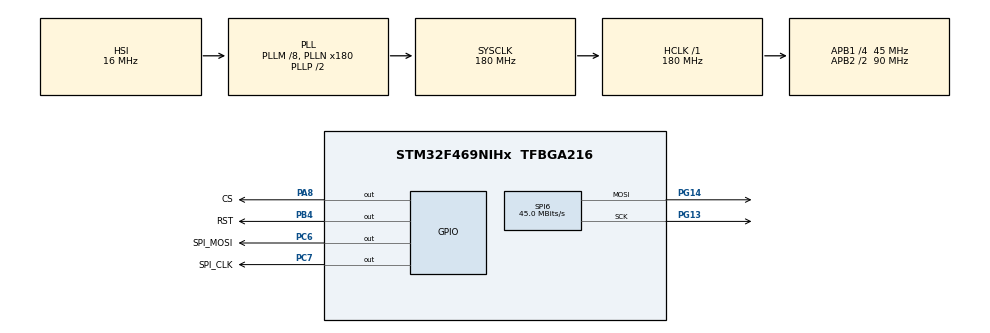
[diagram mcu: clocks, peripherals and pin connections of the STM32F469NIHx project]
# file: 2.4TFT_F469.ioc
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Mcu.Family=STM32F4
Mcu.Name=STM32F469NIHx
Mcu.Package=TFBGA216
NVIC.PriorityGroup=NVIC_PRIORITYGROUP_4
NVIC.TIM2_IRQn=true\:0\:0\:false\:false\:true\:true\:true\:true
PA13.Mode=Serial_Wire
PA13.Signal=SYS_JTMS-SWDIO
PA14.Mode=Serial_Wire
PA14.Signal=SYS_JTCK-SWCLK
PA8.GPIO_Label=CS
PA8.GPIO_Speed=GPIO_SPEED_FREQ_VERY_HIGH
PA8.PinState=GPIO_PIN_RESET
PA8.Signal=GPIO_Output
PB4.GPIO_Label=RST
PB4.Signal=GPIO_Output
PC14/OSC32_IN.Mode=LSE-External-Oscillator
PC14/OSC32_IN.Signal=RCC_OSC32_IN
PC15/OSC32_OUT.Mode=LSE-External-Oscillator
PC15/OSC32_OUT.Signal=RCC_OSC32_OUT
PC6.GPIO_Label=SPI_MOSI
PC6.GPIO_Speed=GPIO_SPEED_FREQ_VERY_HIGH
PC6.PinState=GPIO_PIN_SET
PC6.Signal=GPIO_Output
PC7.GPIO_Label=SPI_CLK
PC7.GPIO_Speed=GPIO_SPEED_FREQ_VERY_HIGH
PC7.PinState=GPIO_PIN_SET
PC7.Signal=GPIO_Output
PG13.Mode=TX_Only_Simplex_Unidirect_Master
PG13.Signal=SPI6_SCK
PG14.Mode=TX_Only_Simplex_Unidirect_Master
PG14.Signal=SPI6_MOSI
PH0/OSC_IN.Mode=HSE-External-Oscillator
PH0/OSC_IN.Signal=RCC_OSC_IN
PH1/OSC_OUT.Mode=HSE-External-Oscillator
PH1/OSC_OUT.Signal=RCC_OSC_OUT
ProjectManager.HeapSize=0x200
ProjectManager.StackSize=0x400
ProjectManager.TargetToolchain=MDK-ARM V5.32
RCC.AHBFreq_Value=180000000
RCC.APB1CLKDivider=RCC_HCLK_DIV4
RCC.APB1Freq_Value=45000000
RCC.APB1TimFreq_Value=90000000
RCC.APB2CLKDivider=RCC_HCLK_DIV2
RCC.APB2Freq_Value=90000000
RCC.APB2TimFreq_Value=180000000
RCC.CortexFreq_Value=180000000
RCC.HCLKFreq_Value=180000000
RCC.HSE_VALUE=8000000
RCC.PLLM=8
RCC.PLLN=180
RCC.SYSCLKFreq_VALUE=180000000
RCC.SYSCLKSource=RCC_SYSCLKSOURCE_PLLCLK
RCC.USBFreq_Value=90000000
RCC.VCOOutputFreq_Value=360000000
SPI6.CalculateBaudRate=45.0 MBits/s
SPI6.Direction=SPI_DIRECTION_2LINES
SPI6.Mode=SPI_MODE_MASTER
SPI6.VirtualType=VM_MASTER
TIM2.Period=1000
TIM2.Prescaler=100
VP_TIM2_VS_ClockSourceINT.Mode=Internal
board=custom

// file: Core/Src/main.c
/* USER CODE BEGIN Header */
/**
  ******************************************************************************
  * @file           : main.c
  * @brief          : Main program body
  ******************************************************************************
  * @attention
  *
  * Copyright (c) 2022 STMicroelectronics.
  * All rights reserved.
  *
  * This software is licensed under terms that can be found in the LICENSE file
  * in the root directory of this software component.
  * If no LICENSE file comes with this software, it is provided AS-IS.
  *
  ******************************************************************************
  */
/* USER CODE END Header */
#include "main.h"
#include "spi.h"
#include "tim.h"
#include "gpio.h"

/* USER CODE BEGIN Includes */
#include "lvgl.h"
#include "lv_port_disp_template.h"
#include "lv_port_indev_template.h"

#if LV_USE_DEMO_WIDGETS
#   include "lv_demo_widgets.h"
#endif
#if LV_USE_DEMO_BENCHMARK
#   include "lv_demo_benchmark.h"
#endif
/* USER CODE END Includes */

void SystemClock_Config(void);

/* USER CODE BEGIN 0 */
uint16_t i;
/* USER CODE END 0 */

int main(void)
{

  /* MCU Configuration--------------------------------------------------------*/

  /* Reset of all peripherals, Initializes the Flash interface and the Systick. */
  HAL_Init();

  /* Configure the system clock */
  SystemClock_Config();

  /* Initialize all configured peripherals */
  MX_GPIO_Init();
  MX_SPI6_Init();
  MX_TIM2_Init();
  /* USER CODE BEGIN 2 */
	 HAL_TIM_Base_Start_IT(&htim2); //使用定时器的时候调用这个函数启动

  LCD_Init();
  FT6336_Init();

//WM8978_In();
	lv_init();
	lv_port_disp_init();		//lvgl显示接口初始化,放在lv_init()的后面
	lv_port_indev_init();		//lvgl输入接口初始化,放在lv_init()的后面

//#if LV_USE_DEMO_BENCHMARK
//    lv_demo_benchmark();
//#endif
//#if LV_USE_DEMO_WIDGETS
//    lv_demo_widgets();
//#endif
   ui_init();
  /* USER CODE END 2 */

  /* Infinite loop */
  /* USER CODE BEGIN WHILE */
  while (1)
  {
		 lv_task_handler();//lvgl的事务处理

    /* USER CODE END WHILE */

  }
}

void SystemClock_Config(void)
{
  RCC_OscInitTypeDef RCC_OscInitStruct = {0};
  RCC_ClkInitTypeDef RCC_ClkInitStruct = {0};

  /** Configure the main internal regulator output voltage
  */
  __HAL_RCC_PWR_CLK_ENABLE();
  __HAL_PWR_VOLTAGESCALING_CONFIG(PWR_REGULATOR_VOLTAGE_SCALE1);

  /** Initializes the RCC Oscillators according to the specified parameters
  * in the RCC_OscInitTypeDef structure.
  */
  RCC_OscInitStruct.OscillatorType = RCC_OSCILLATORTYPE_HSI;
  RCC_OscInitStruct.HSIState = RCC_HSI_ON;
  RCC_OscInitStruct.HSICalibrationValue = RCC_HSICALIBRATION_DEFAULT;
  RCC_OscInitStruct.PLL.PLLState = RCC_PLL_ON;
  RCC_OscInitStruct.PLL.PLLSource = RCC_PLLSOURCE_HSI;
  RCC_OscInitStruct.PLL.PLLM = 8;
  RCC_OscInitStruct.PLL.PLLN = 180;
  RCC_OscInitStruct.PLL.PLLP = RCC_PLLP_DIV2;
  RCC_OscInitStruct.PLL.PLLQ = 4;
  RCC_OscInitStruct.PLL.PLLR = 2;
  if (HAL_RCC_OscConfig(&RCC_OscInitStruct) != HAL_OK)
  {
    Error_Handler();
  }

  /** Activate the Over-Drive mode
  */
  if (HAL_PWREx_EnableOverDrive() != HAL_OK)
  {
    Error_Handler();
  }

  /** Initializes the CPU, AHB and APB buses clocks
  */
  RCC_ClkInitStruct.ClockType = RCC_CLOCKTYPE_HCLK|RCC_CLOCKTYPE_SYSCLK
                              |RCC_CLOCKTYPE_PCLK1|RCC_CLOCKTYPE_PCLK2;
  RCC_ClkInitStruct.SYSCLKSource = RCC_SYSCLKSOURCE_PLLCLK;
  RCC_ClkInitStruct.AHBCLKDivider = RCC_SYSCLK_DIV1;
  RCC_ClkInitStruct.APB1CLKDivider = RCC_HCLK_DIV4;
  RCC_ClkInitStruct.APB2CLKDivider = RCC_HCLK_DIV2;

  if (HAL_RCC_ClockConfig(&RCC_ClkInitStruct, FLASH_LATENCY_5) != HAL_OK)
  {
    Error_Handler();
  }
}

/* USER CODE BEGIN 4 */
void HAL_TIM_PeriodElapsedCallback(TIM_HandleTypeDef *htim)
{
	static uint16_t i = 0;
  /* USER CODE BEGIN Callback 0 */

		if(htim->Instance == TIM2)
		{
			lv_tick_inc(1);//lvgl的1ms心跳
		  i++;
			if(i>=2)
			{
				i = 0;
				FT6336_Scan();
			}

		 }
}
/* USER CODE END 4 */

void Error_Handler(void)
{
  __disable_irq();
  while (1)
  {
  }
}
